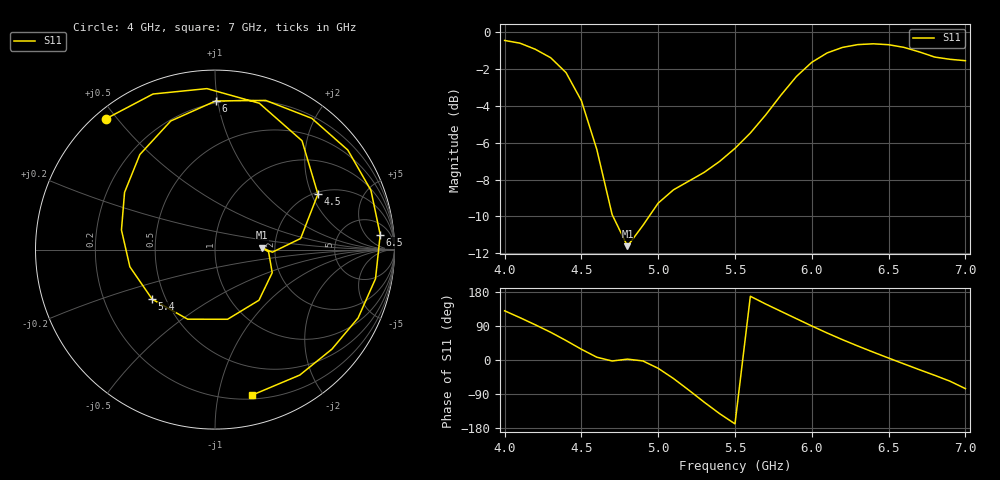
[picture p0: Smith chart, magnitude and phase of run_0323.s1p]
! Touchstone file exported from HFSS 2024.2.0
!  File:  C:/Users/wsak9/Desktop/Sim Fast/Widenad Patch/WP_AI_V1_sweep.aedt
!  Generated:  04:41:56 AM Oct 14, 2026
!  Design:  A1_model
!  Project:  WP_AI_V1_sweep
!  Setup:  Setup1
!  Solution:  Sweep
! Variables:
!  Air_gap = 4.16mm
!  Curve_Amp1 = 2.59
!  Curve_len1 = 1
!  Curve_pos = 11.495mm
!  Extra = 4.86mm
!  H_sub = 0.79mm
!  L_Patch = 18.99mm
!  L_Patch1 = 15.33mm
!  Sx = 2.13mm
!  Sy = 1.99mm
!  WS = 1.25mm
!  W_Patch = 22.61mm
!  W_Patch1 = 10.47mm
!Data is not renormalized
# GHz S MA
! Terminal data exported
! Port[1] = 1
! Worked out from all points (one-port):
!   31 points, 4 GHz to 7 GHz, reference per port
!   lowest |S11| = -11.6 dB at 4.8 GHz (marker M1), VSWR 1.71
!   |S11| at or under -10 dB: 4.706 GHz to 4.94 GHz (234.5 MHz wide, 4.86 % of centre)
!   S11 on the Smith chart (normalised r, x): 4 GHz: 0.03, +0.47; 4.5 GHz: 2.07, +2.23; 5.4 GHz: 0.42, -0.29; 6 GHz: 0.19, +0.99; 6.5 GHz: 11, +13; 7 GHz: 0.23, -1.26
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4  0.949 129.8
4.1  0.9331 111.7
4.2  0.8981 92.9
4.3  0.852 73.2
4.4  0.7764 51.3
4.5  0.6514 28.3
4.6  0.481 7.4
4.7  0.32 -2.6
4.8  0.2627 2.3
4.9  0.2988 -2.5
5  0.3438 -22.0
5.1  0.3736 -49.0
5.2  0.3944 -79.7
5.3  0.4167 -111.4
5.4  0.446 -141.6
5.5  0.4839 -168.6
5.7  0.5963 147.7
5.8  0.6752 128.3
5.9  0.7578 109.0
6  0.8281 89.8
6.1  0.878 71.2
6.2  0.9088 53.6
6.3  0.9248 36.9
6.4  0.9294 20.8
6.5  0.9242 5.1
6.7  0.8836 -25.5
6.9  0.8436 -56.0
7  0.8363 -75.5
